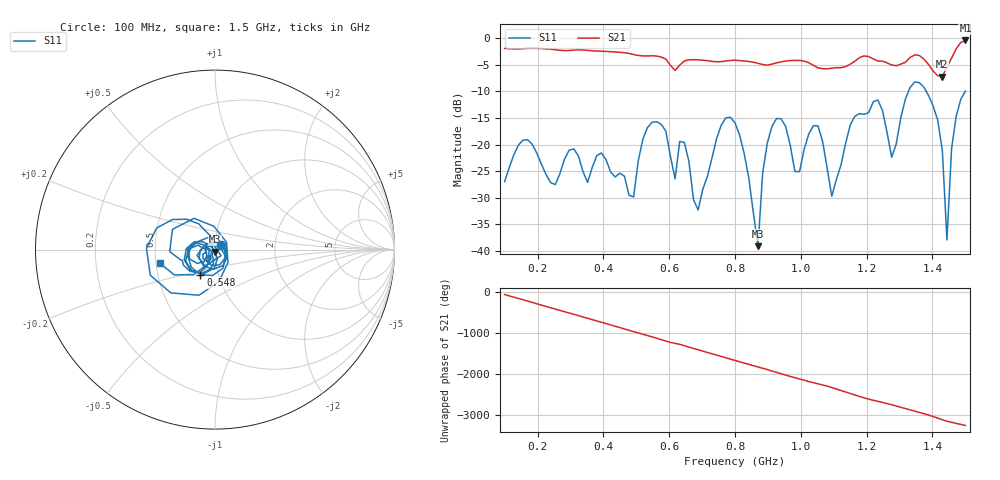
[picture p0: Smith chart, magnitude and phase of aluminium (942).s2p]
! NanoVNA-App
! Date: 2025-09-25 15:02:37
! Start: 100MHz Stop: 1,5GHz Points: 101
! S-Parameter data: F S11 S21 S12 S22
# Hz S RI R 50
!  Frequency  S11_Real  S11_Imag  S21_Real  S21_Imag  S12_Real  S12_Imag  S22_Real  S22_Imag
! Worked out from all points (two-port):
!   101 points, 100 MHz to 1.5 GHz, reference 50 ohm
!   highest |S21| = -0.43 dB at 1.5 GHz (marker M1); lowest = -7.2 dB at 1.43 GHz (marker M2)
!   |S21| within 3 dB of the highest: start of sweep to 567.2 MHz; 1.461 GHz to end of sweep (the widest 2 of 4)
!   lowest |S11| = -39.1 dB at 870 MHz (marker M3), VSWR 1.02, Z = 50.2 - j1.1 ohm
!   |S11| at or under -10 dB: start of sweep to 1.327 GHz; 1.381 GHz to 1.5 GHz (118.4 MHz wide, 8.22 % of centre)
!   S12 and S22 are empty: the file has one direction only
!   S11 on the Smith chart (normalised r, x): 100 MHz: 1.07, +0.06; 548 MHz: 0.82, -0.24; 1.5 GHz: 0.52, -0.09
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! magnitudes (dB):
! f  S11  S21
! 100 MHz  -27.0  -1.9
! 156 MHz  -19.1  -2.0
! 338 MHz  -25.0  -2.2
! 492 MHz  -29.8  -3.1
! 548 MHz  -15.8  -3.3
! 576 MHz  -16.2  -3.6
! 618 MHz  -26.4  -6.1
! 646 MHz  -19.6  -4.3
! 688 MHz  -32.3  -4.1
! 800 MHz  -15.9  -4.1
! 870 MHz  -39.1  -4.7
! 912 MHz  -16.6  -4.9
! 996 MHz  -25.1  -4.2
! 1.038 GHz  -16.4  -5.1
! 1.094 GHz  -29.7  -5.6
! 1.22 GHz  -11.9  -3.9
! 1.276 GHz  -22.4  -5.0
! 1.346 GHz  -8.2  -3.1
! 1.43 GHz  -21.2  -7.2
! 1.444 GHz  -37.9  -5.4
! 1.458 GHz  -20.8  -3.8
! 1.5 GHz  -10.0  -0.4
